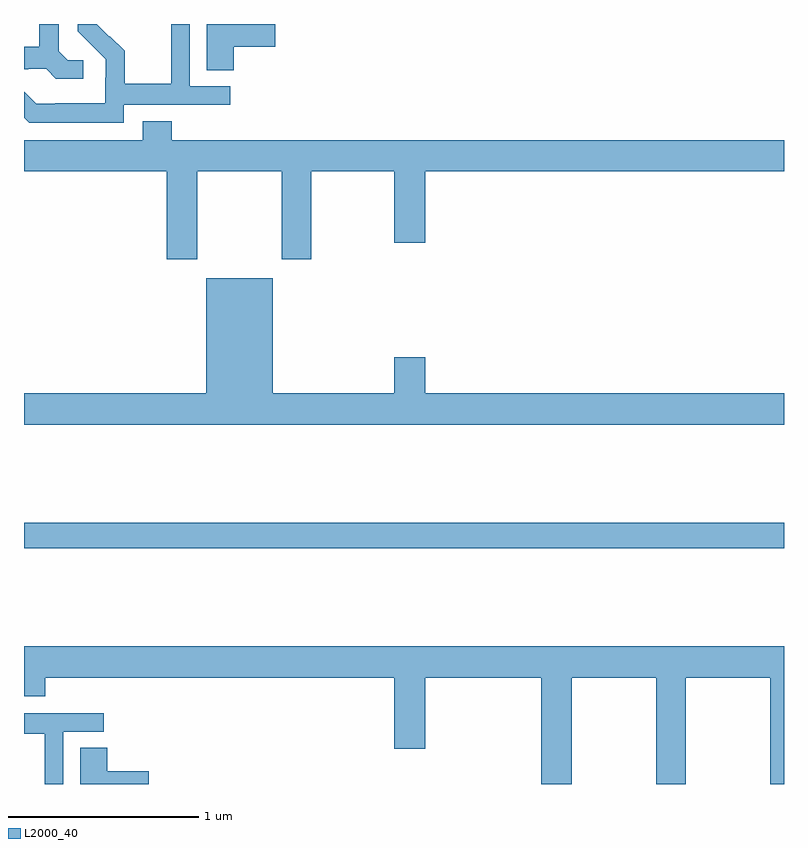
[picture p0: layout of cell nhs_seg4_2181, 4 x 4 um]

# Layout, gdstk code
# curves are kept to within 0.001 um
import gdstk
lib = gdstk.Library(unit=1e-6, precision=1e-09)
def R(c, l, rs):  # rectangles x0, y0, x1, y1
    for r in rs: c.add(gdstk.rectangle(r[:2], r[2:], *l))
def P(c, l, *ps):  # polygons
    for p in ps: c.add(gdstk.Polygon(p, *l))
L2000_40 = (2000, 40)

nhs_seg4_2181 = lib.new_cell('nhs_seg4_2181')
R(nhs_seg4_2181, L2000_40, [(223,824.14,227,824.276)])
P(nhs_seg4_2181, L2000_40, [(223.524,826.476),(224.086,826.476),(224.086,826.572),(223.872,826.572),(223.872,826.9),(223.776,826.9),(223.776,826.808),(223.774,826.808),(223.774,826.585),(223.529,826.585),(223.529,826.759),(223.452,826.836),(223.449,826.833),(223.383,826.9),(223.284,826.9),(223.284,826.862),(223.43,826.714),(223.43,826.617),(223.428,826.617),(223.428,826.483),(223.165,826.483),(223.165,826.479),(223.065,826.479),(223,826.544),(223,826.406),(223.027,826.379),(223.524,826.379)],
  [(224.105,826.781),(224.323,826.781),(224.323,826.9),(223.961,826.9),(223.961,826.657),(224.105,826.657)],
  [(223.312,826.71),(223.23,826.71),(223.183,826.757),(223.183,826.9),(223.079,826.9),(223.079,826.781),(223,826.781),(223,826.662),(223.022,826.662),(223.022,826.665),(223.116,826.665),(223.168,826.613),(223.312,826.613)],
  [(223.911,826.124),(224.356,826.124),(224.356,825.663),(224.511,825.663),(224.511,826.124),(224.948,826.124),(224.948,825.75),(225.112,825.75),(225.112,826.124),(227,826.124),(227,826.288),(223.778,826.288),(223.778,826.387),(223.625,826.387),(223.625,826.288),(223,826.288),(223,826.124),(223.751,826.124),(223.751,825.663),(223.911,825.663)],
  [(227,824.956),(225.112,824.956),(225.112,825.145),(224.948,825.145),(224.948,824.956),(224.308,824.956),(224.308,825.562),(223.958,825.562),(223.958,824.956),(223,824.956),(223,824.792),(227,824.792)],
  [(225.882,823.46),(226.327,823.46),(226.327,822.9),(226.482,822.9),(226.482,823.46),(226.927,823.46),(226.927,822.9),(227,822.9),(227,823.624),(223,823.624),(223,823.361),(223.112,823.361),(223.112,823.46),(224.948,823.46),(224.948,823.086),(225.112,823.086),(225.112,823.46),(225.722,823.46),(225.722,822.9),(225.882,822.9)],
  [(223.206,823.176),(223.42,823.176),(223.42,823.272),(223,823.272),(223,823.164),(223.108,823.164),(223.108,822.94),(223.11,822.94),(223.11,822.9),(223.206,822.9)],
  [(223.657,822.968),(223.439,822.968),(223.439,823.091),(223.295,823.091),(223.295,822.9),(223.657,822.9)])

lib.write_gds('nhs_seg4_2181.gds')
